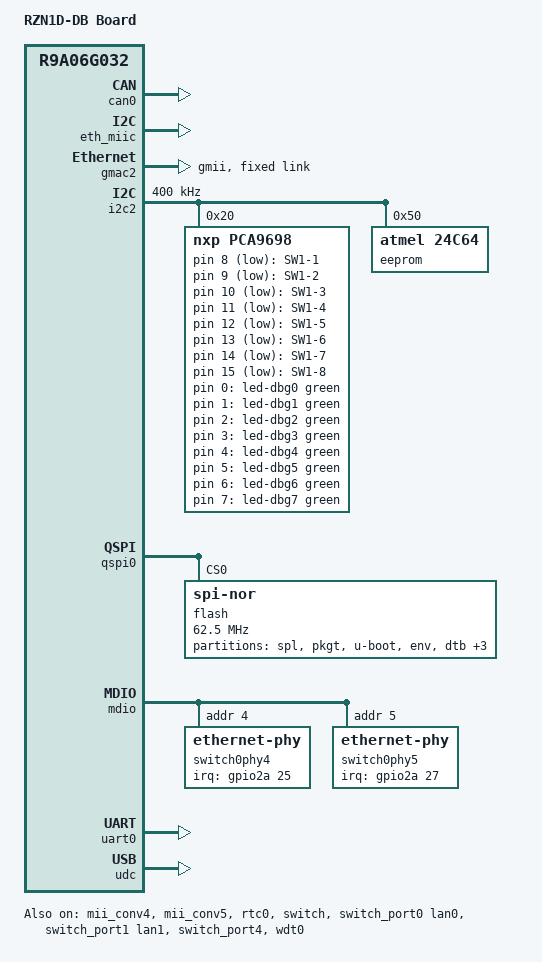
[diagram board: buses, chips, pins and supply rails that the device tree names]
// SPDX-License-Identifier: GPL-2.0
/*
 * Device Tree Source for the RZN1D-DB Board
 *
 * Copyright (C) 2018 Renesas Electronics Europe Limited
 *
 */

/dts-v1/;

#include <dt-bindings/gpio/gpio.h>
#include <dt-bindings/input/input.h>
#include <dt-bindings/leds/common.h>
#include <dt-bindings/net/pcs-rzn1-miic.h>
#include <dt-bindings/pinctrl/rzn1-pinctrl.h>

#include "r9a06g032.dtsi"

/ {
	model = "RZN1D-DB Board";
	compatible = "renesas,rzn1d400-db", "renesas,r9a06g032";

	chosen {
		stdout-path = "serial0:115200n8";
	};

	aliases {
		serial0 = &uart0;
	};

	keyboard {
		compatible = "gpio-keys-polled";
		poll-interval = <100>;

		switch-1 {
			linux,code = <KEY_1>;
			label = "SW1-1";
			debounce-interval = <20>;
			gpios = <&pca9698 8 GPIO_ACTIVE_LOW>;
		};

		switch-2 {
			linux,code = <KEY_2>;
			label = "SW1-2";
			debounce-interval = <20>;
			gpios = <&pca9698 9 GPIO_ACTIVE_LOW>;
		};

		switch-3 {
			linux,code = <KEY_3>;
			label = "SW1-3";
			debounce-interval = <20>;
			gpios = <&pca9698 10 GPIO_ACTIVE_LOW>;
		};

		switch-4 {
			linux,code = <KEY_4>;
			label = "SW1-4";
			debounce-interval = <20>;
			gpios = <&pca9698 11 GPIO_ACTIVE_LOW>;
		};

		switch-5 {
			linux,code = <KEY_5>;
			label = "SW1-5";
			debounce-interval = <20>;
			gpios = <&pca9698 12 GPIO_ACTIVE_LOW>;
		};

		switch-6 {
			linux,code = <KEY_6>;
			label = "SW1-6";
			debounce-interval = <20>;
			gpios = <&pca9698 13 GPIO_ACTIVE_LOW>;
		};

		switch-7 {
			linux,code = <KEY_7>;
			label = "SW1-7";
			debounce-interval = <20>;
			gpios = <&pca9698 14 GPIO_ACTIVE_LOW>;
		};

		switch-8 {
			linux,code = <KEY_8>;
			label = "SW1-8";
			debounce-interval = <20>;
			gpios = <&pca9698 15 GPIO_ACTIVE_LOW>;
		};
	};

	leds {
		compatible = "gpio-leds";

		led-dbg0 {
			gpios = <&pca9698 0 GPIO_ACTIVE_HIGH>;
			color = <LED_COLOR_ID_GREEN>;
			function = LED_FUNCTION_DEBUG;
			function-enumerator = <0>;
		};

		led-dbg1 {
			gpios = <&pca9698 1 GPIO_ACTIVE_HIGH>;
			color = <LED_COLOR_ID_GREEN>;
			function = LED_FUNCTION_DEBUG;
			function-enumerator = <1>;
		};

		led-dbg2 {
			gpios = <&pca9698 2 GPIO_ACTIVE_HIGH>;
			color = <LED_COLOR_ID_GREEN>;
			function = LED_FUNCTION_DEBUG;
			function-enumerator = <2>;
		};

		led-dbg3 {
			gpios = <&pca9698 3 GPIO_ACTIVE_HIGH>;
			color = <LED_COLOR_ID_GREEN>;
			function = LED_FUNCTION_DEBUG;
			function-enumerator = <3>;
		};

		led-dbg4 {
			gpios = <&pca9698 4 GPIO_ACTIVE_HIGH>;
			color = <LED_COLOR_ID_GREEN>;
			function = LED_FUNCTION_DEBUG;
			function-enumerator = <4>;
		};

		led-dbg5 {
			gpios = <&pca9698 5 GPIO_ACTIVE_HIGH>;
			color = <LED_COLOR_ID_GREEN>;
			function = LED_FUNCTION_DEBUG;
			function-enumerator = <5>;
		};

		led-dbg6 {
			gpios = <&pca9698 6 GPIO_ACTIVE_HIGH>;
			color = <LED_COLOR_ID_GREEN>;
			function = LED_FUNCTION_DEBUG;
			function-enumerator = <6>;
		};

		led-dbg7 {
			gpios = <&pca9698 7 GPIO_ACTIVE_HIGH>;
			color = <LED_COLOR_ID_GREEN>;
			function = LED_FUNCTION_DEBUG;
			function-enumerator = <7>;
		};
	};
};

&can0 {
	pinctrl-0 = <&pins_can0>;
	pinctrl-names = "default";

	/* Assuming CN10/CN11 are wired for CAN1 */
	status = "okay";
};

&can1 {
	pinctrl-0 = <&pins_can1>;
	pinctrl-names = "default";

	/* Please only enable can0 or can1, depending on CN10/CN11 */
	/* status = "okay"; */
};

&eth_miic {
	status = "okay";
	renesas,miic-switch-portin = <MIIC_GMAC2_PORT>;
};

&ext_rtc_clk {
	clock-frequency = <32768>;
};

&gmac2 {
	status = "okay";
	phy-mode = "gmii";

	fixed-link {
		speed = <1000>;
		full-duplex;
	};
};

&gpioirqmux {
	interrupt-map = <89 &gic GIC_SPI 103 IRQ_TYPE_LEVEL_HIGH>, /* pin 147: phy@4 */
			<91 &gic GIC_SPI 104 IRQ_TYPE_LEVEL_HIGH>; /* pin 149: phy@5 */
	status = "okay";
};

&gpio2 {
	pinctrl-0 = <&pins_gpio2>;
	pinctrl-names = "default";
	status = "okay";
};

&i2c2 {
	pinctrl-0 = <&pins_i2c2>;
	pinctrl-names = "default";
	status = "okay";
	clock-frequency = <400000>;

	pca9698: gpio@20 {
		compatible = "nxp,pca9698";
		reg = <0x20>;
		gpio-controller;
		#gpio-cells = <2>;

		/* configure the analog switch to let i2c2 access the eeprom */
		max4662-in1-hog {
			gpio-hog;
			gpios = <16 0>;
			output-high;
		};
		max4662-in2-hog {
			gpio-hog;
			gpios = <17 0>;
			output-low;
		};
		max4662-in3-hog {
			gpio-hog;
			gpios = <18 0>;
			output-low;
		};
	};

	/* Some revisions may have a 24cs64 at address 0x58 */
	eeprom@50 {
		compatible = "atmel,24c64";
		pagesize = <32>;
		reg = <0x50>;
	};
};

&mii_conv4 {
	renesas,miic-input = <MIIC_SWITCH_PORTB>;
	status = "okay";
};

&mii_conv5 {
	renesas,miic-input = <MIIC_SWITCH_PORTA>;
	status = "okay";
};

&pinctrl {
	pinctrl-names = "default";
	pinctrl-0 = <&pins_cpld>;

	pins_can0: pins-can0 {
		pinmux = <RZN1_PINMUX(162, RZN1_FUNC_CAN)>,	/* CAN0_TXD */
			 <RZN1_PINMUX(163, RZN1_FUNC_CAN)>;	/* CAN0_RXD */
		drive-strength = <6>;
	};

	pins_can1: pins-can1 {
		pinmux = <RZN1_PINMUX(109, RZN1_FUNC_CAN)>,	/* CAN1_TXD */
			 <RZN1_PINMUX(110, RZN1_FUNC_CAN)>;	/* CAN1_RXD */
		drive-strength = <6>;
	};

	pins_cpld: pins-cpld {
		pinmux = <RZN1_PINMUX(119, RZN1_FUNC_USB)>,
			 <RZN1_PINMUX(120, RZN1_FUNC_USB)>,
			 <RZN1_PINMUX(121, RZN1_FUNC_USB)>,
			 <RZN1_PINMUX(122, RZN1_FUNC_USB)>;
	};

	pins_eth3: pins-eth3 {
		pinmux = <RZN1_PINMUX(36, RZN1_FUNC_CLK_ETH_MII_RGMII_RMII)>,
			 <RZN1_PINMUX(37, RZN1_FUNC_CLK_ETH_MII_RGMII_RMII)>,
			 <RZN1_PINMUX(38, RZN1_FUNC_CLK_ETH_MII_RGMII_RMII)>,
			 <RZN1_PINMUX(39, RZN1_FUNC_CLK_ETH_MII_RGMII_RMII)>,
			 <RZN1_PINMUX(40, RZN1_FUNC_CLK_ETH_MII_RGMII_RMII)>,
			 <RZN1_PINMUX(41, RZN1_FUNC_CLK_ETH_MII_RGMII_RMII)>,
			 <RZN1_PINMUX(42, RZN1_FUNC_CLK_ETH_MII_RGMII_RMII)>,
			 <RZN1_PINMUX(43, RZN1_FUNC_CLK_ETH_MII_RGMII_RMII)>,
			 <RZN1_PINMUX(44, RZN1_FUNC_CLK_ETH_MII_RGMII_RMII)>,
			 <RZN1_PINMUX(45, RZN1_FUNC_CLK_ETH_MII_RGMII_RMII)>,
			 <RZN1_PINMUX(46, RZN1_FUNC_CLK_ETH_MII_RGMII_RMII)>,
			 <RZN1_PINMUX(47, RZN1_FUNC_CLK_ETH_MII_RGMII_RMII)>;
		drive-strength = <6>;
		bias-disable;
	};

	pins_eth4: pins-eth4 {
		pinmux = <RZN1_PINMUX(48, RZN1_FUNC_CLK_ETH_MII_RGMII_RMII)>,
			 <RZN1_PINMUX(49, RZN1_FUNC_CLK_ETH_MII_RGMII_RMII)>,
			 <RZN1_PINMUX(50, RZN1_FUNC_CLK_ETH_MII_RGMII_RMII)>,
			 <RZN1_PINMUX(51, RZN1_FUNC_CLK_ETH_MII_RGMII_RMII)>,
			 <RZN1_PINMUX(52, RZN1_FUNC_CLK_ETH_MII_RGMII_RMII)>,
			 <RZN1_PINMUX(53, RZN1_FUNC_CLK_ETH_MII_RGMII_RMII)>,
			 <RZN1_PINMUX(54, RZN1_FUNC_CLK_ETH_MII_RGMII_RMII)>,
			 <RZN1_PINMUX(55, RZN1_FUNC_CLK_ETH_MII_RGMII_RMII)>,
			 <RZN1_PINMUX(56, RZN1_FUNC_CLK_ETH_MII_RGMII_RMII)>,
			 <RZN1_PINMUX(57, RZN1_FUNC_CLK_ETH_MII_RGMII_RMII)>,
			 <RZN1_PINMUX(58, RZN1_FUNC_CLK_ETH_MII_RGMII_RMII)>,
			 <RZN1_PINMUX(59, RZN1_FUNC_CLK_ETH_MII_RGMII_RMII)>;
		drive-strength = <6>;
		bias-disable;
	};

	pins_gpio2: pins-gpio2 {
		pinmux = <RZN1_PINMUX(147, RZN1_FUNC_GPIO)>,
			 <RZN1_PINMUX(149, RZN1_FUNC_GPIO)>;
		drive-strength = <6>;
		bias-pull-up;
	};

	pins_i2c2: pins-i2c2 {
		pinmux = <RZN1_PINMUX(115, RZN1_FUNC_I2C)>,
			 <RZN1_PINMUX(116, RZN1_FUNC_I2C)>;
		drive-strength = <12>;
	};

	pins_mdio1: pins-mdio1 {
		pinmux = <RZN1_PINMUX(152, RZN1_FUNC_MDIO1_SWITCH)>,
			 <RZN1_PINMUX(153, RZN1_FUNC_MDIO1_SWITCH)>;
	};

	pins_qspi0: pins-qspi0 {
		pinmux = <RZN1_PINMUX(74, RZN1_FUNC_QSPI)>,
			 <RZN1_PINMUX(75, RZN1_FUNC_QSPI)>,
			 <RZN1_PINMUX(76, RZN1_FUNC_QSPI)>,
			 <RZN1_PINMUX(77, RZN1_FUNC_QSPI)>,
			 <RZN1_PINMUX(78, RZN1_FUNC_QSPI)>,
			 <RZN1_PINMUX(79, RZN1_FUNC_QSPI)>;
		bias-disable;
	};
};

&qspi0 {
	pinctrl-0 = <&pins_qspi0>;
	pinctrl-names = "default";
	status = "okay";
	bootph-all;

	flash@0 {
		reg = <0>;
		compatible = "jedec,spi-nor";
		spi-max-frequency = <62500000>;
		spi-rx-bus-width = <4>;
		spi-tx-bus-width = <4>;
		cdns,read-delay = <1>;
		cdns,tshsl-ns = <200>;
		cdns,tsd2d-ns = <255>;
		cdns,tchsh-ns = <20>;
		cdns,tslch-ns = <20>;
		bootph-all;

		partitions {
			compatible = "fixed-partitions";
			#address-cells = <1>;
			#size-cells = <1>;

			partition@0 {
				/* 64KiB */
				label = "spl";
				reg = <0x0000000 0x00010000>;
			};
			partition@10000 {
				/* 64KiB */
				label = "pkgt";
				reg = <0x0010000 0x00010000>;
			};
			partition@20000 {
				/* 512KiB */
				label = "u-boot";
				reg = <0x0020000 0x00080000>;
			};
			partition@a0000 {
				/* 64KiB */
				label = "env";
				reg = <0x00a0000 0x00010000>;
			};
			partition@b0000 {
				/* 128KiB */
				label = "dtb";
				reg = <0x00b0000 0x00020000>;
			};
			partition@d0000 {
				/* 1MiB */
				label = "cm3";
				reg = <0x00d0000 0x00100000>;
			};
			partition@1d0000 {
				/* 6MiB */
				label = "kernel";
				reg = <0x01d0000 0x00600000>;
			};
			partition@7d0000 {
				/* Remaining */
				label = "data";
				reg = <0x07d0000 0x1830000>;
			};
		};
	};
};

&rtc0 {
	status = "okay";
};

&switch {
	status = "okay";

	pinctrl-names = "default";
	pinctrl-0 = <&pins_eth3>, <&pins_eth4>, <&pins_mdio1>;

	dsa,member = <0 0>;

	mdio {
		clock-frequency = <2500000>;

		#address-cells = <1>;
		#size-cells = <0>;

		switch0phy4: ethernet-phy@4 {
			reg = <4>;
			micrel,led-mode = <1>;
			interrupts-extended = <&gpio2a 25 IRQ_TYPE_LEVEL_LOW>;
		};

		switch0phy5: ethernet-phy@5 {
			reg = <5>;
			micrel,led-mode = <1>;
			interrupts-extended = <&gpio2a 27 IRQ_TYPE_LEVEL_LOW>;
		};
	};
};

&switch_port0 {
	label = "lan0";
	phy-mode = "mii";
	phy-handle = <&switch0phy5>;
	status = "okay";
};

&switch_port1 {
	label = "lan1";
	phy-mode = "mii";
	phy-handle = <&switch0phy4>;
	status = "okay";
};

&switch_port4 {
	status = "okay";
};

&uart0 {
	status = "okay";
};

&udc {
	status = "okay";
};

&wdt0 {
	timeout-sec = <60>;
	status = "okay";
};
